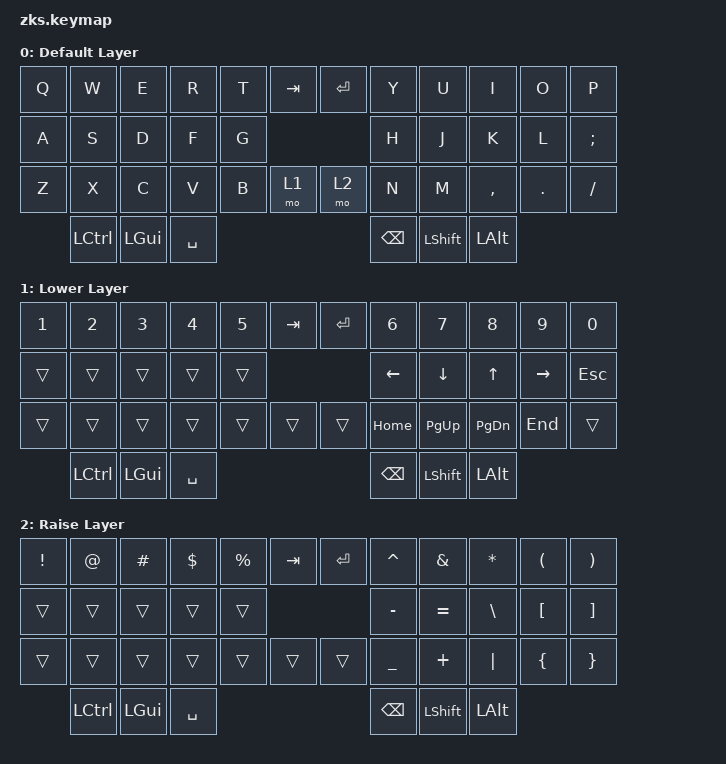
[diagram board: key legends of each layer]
#include <behaviors.dtsi>
#include <dt-bindings/zmk/keys.h>
#include <dt-bindings/zmk/bt.h>

/ {
        keymap {
                compatible = "zmk,keymap";

                default_layer {
                        display-name = "Default Layer";
// -----------------------------------------------------------------------------------------
// |  Q  |  W  |  E  |  R  |  T  | TAB |   | RET |  Y  |  U  |  I  |  O  |  P  |
// |  A  |  S  |  D  |  F  |  G  |               |  H  |  J  |  K  |  L  |  ;  |
// |  Z  |  X  |  C  |  V  |  B  | LWR |   | RAS |  N  |  M  |  ,  |  .  |  /  |
//                   | CTRL| GUI | SPC |   | BSPC| LS  | ALT |
                        bindings = <
   &kp Q &kp W &kp E &kp R &kp T &kp TAB     &kp RET &kp Y &kp U  &kp I     &kp O   &kp P   
   &kp A &kp S &kp D &kp F &kp G                     &kp H &kp J  &kp K     &kp L   &kp SEMI
   &kp Z &kp X &kp C &kp V &kp B &mo 1       &mo 2   &kp N &kp M  &kp COMMA &kp DOT &kp FSLH
        &kp LCTRL &kp LGUI &kp SPACE             &kp BSPC &kp LSHFT &kp LALT
                        >;
                };
                lower_layer {
                        display-name = "Lower Layer";
// -----------------------------------------------------------------------------------------
// |  1  |  2  |  3  |  4  |  5  | TAB |    | RET |  6  |  7  |  8  |  9  |  0  |
// |     |     |     |     |     |                | LFT | DWN |  UP | RGT | ESC |
// |     |     |     |     |     | *** |    |     | HOM | PUP | PDW | END |     |
//                   | CTRL| GUI | SPC |    | BSPC| LS  | ALT |
                        bindings = <
   &kp N1 &kp N2 &kp N3 &kp N4 &kp N5 &kp TAB    &kp RET &kp N6 &kp N7 &kp N8 &kp N9 &kp N0
   &trans &trans &trans &trans &trans                    &kp LEFT &kp DOWN  &kp UP &kp RIGHT &kp ESC
   &trans &trans &trans &trans &trans &trans      &trans &kp HOME &kp PG_UP &kp PG_DN &kp END &trans 
              &kp LCTRL &kp LGUI &kp SPACE               &kp BSPC &kp LSHFT &kp LALT
                        >;
                };

                raise_layer {
                        display-name = "Raise Layer";
// -----------------------------------------------------------------------------------------
// |  !  |  @  |  #  |  $  |  %  | TAB |    | RET |  ^  |  &  |  *  |  (  |  )  |
// |     |     |     |     |     |                |  -  |  =  |  \  |  [  |  ]  |
// |     |     |     |     |     |     |    | *** |  _  |  +  | "|" |  ~  |  `  |
//                   | CTRL| GUI | SPC |    | BSPC| LS  | ALT |
                        bindings = <
   &kp EXCL &kp AT &kp HASH &kp DLLR &kp PRCNT &kp TAB      &kp RET &kp CARET &kp AMPS  &kp ASTRK &kp LPAR &kp RPAR       
   &trans   &trans &trans   &trans   &trans                         &kp MINUS &kp EQUAL &kp BSLH  &kp LBKT &kp RBKT
   &trans   &trans &trans   &trans   &trans &trans           &trans &kp UNDER &kp PLUS  &kp PIPE  &kp LBRC &kp RBRC
                &kp LCTRL   &kp LGUI   &kp SPACE                  &kp BSPC &kp LSHFT &kp LALT
                        >;
                };
        };
};
